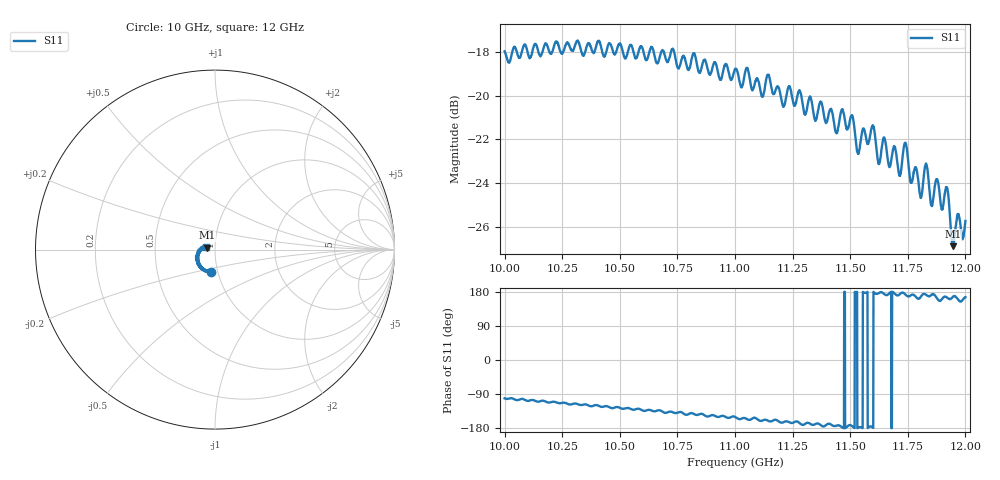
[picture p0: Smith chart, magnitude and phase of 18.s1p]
[Version] 2.0
! Rohde & Schwarz Vector Network Analyzer
! Rohde-Schwarz,ZNL20-2Port,1323001220200009,1.71.1.10-23.02.1.238
! Port Assignments:
! Nominal Port -> Actual Test Port
!  1 -> 1
! Created: GMT 2024-09-04 10:38:25
# Hz S DB R 50
[Number of Ports] 1
! freq[Hz]  S11[mag dB]  S11[ang]
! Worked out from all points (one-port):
!   2001 points, 10 GHz to 12 GHz, reference 50 ohm
!   lowest |S11| = -26.9 dB at 11.95 GHz (marker M1), VSWR 1.09, Z = 45.8 + j0.958 ohm
!   |S11| at or under -10 dB: start of sweep to end of sweep
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[Number of Frequencies] 28
[Network Data]
1e10  -17.98 -101.2
1.025e10  -18.07 -113.1
1.05e10  -17.63 -126.1
1.075e10  -18.70 -139.2
1.1e10  -18.78 -150.0
1.125e10  -20.18 -166.0
1.1327e10  -20.06 -168.4
1.1349e10  -21.16 -169.2
1.1373e10  -20.29 -172.3
1.144e10  -21.72 -173.2
1.1464e10  -20.65 -177.1
1.15e10  -21.08 -171.5
1.1534e10  -22.66 -179.0
1.1598e10  -21.38 -178.4
1.1624e10  -23.10 176.7
1.1647e10  -21.94 174.4
1.1714e10  -23.67 172.9
1.1737e10  -22.18 174.2
1.175e10  -22.81 168.1
1.1805e10  -24.63 165.3
1.1829e10  -23.10 172.4
1.1853e10  -25.02 172.1
1.1875e10  -23.83 164.5
1.1898e10  -25.17 160.2
1.1919e10  -24.19 165.1
1.1945e10  -26.88 166.7
1.1967e10  -25.41 160.8
1.2e10  -25.73 165.8
[End]
